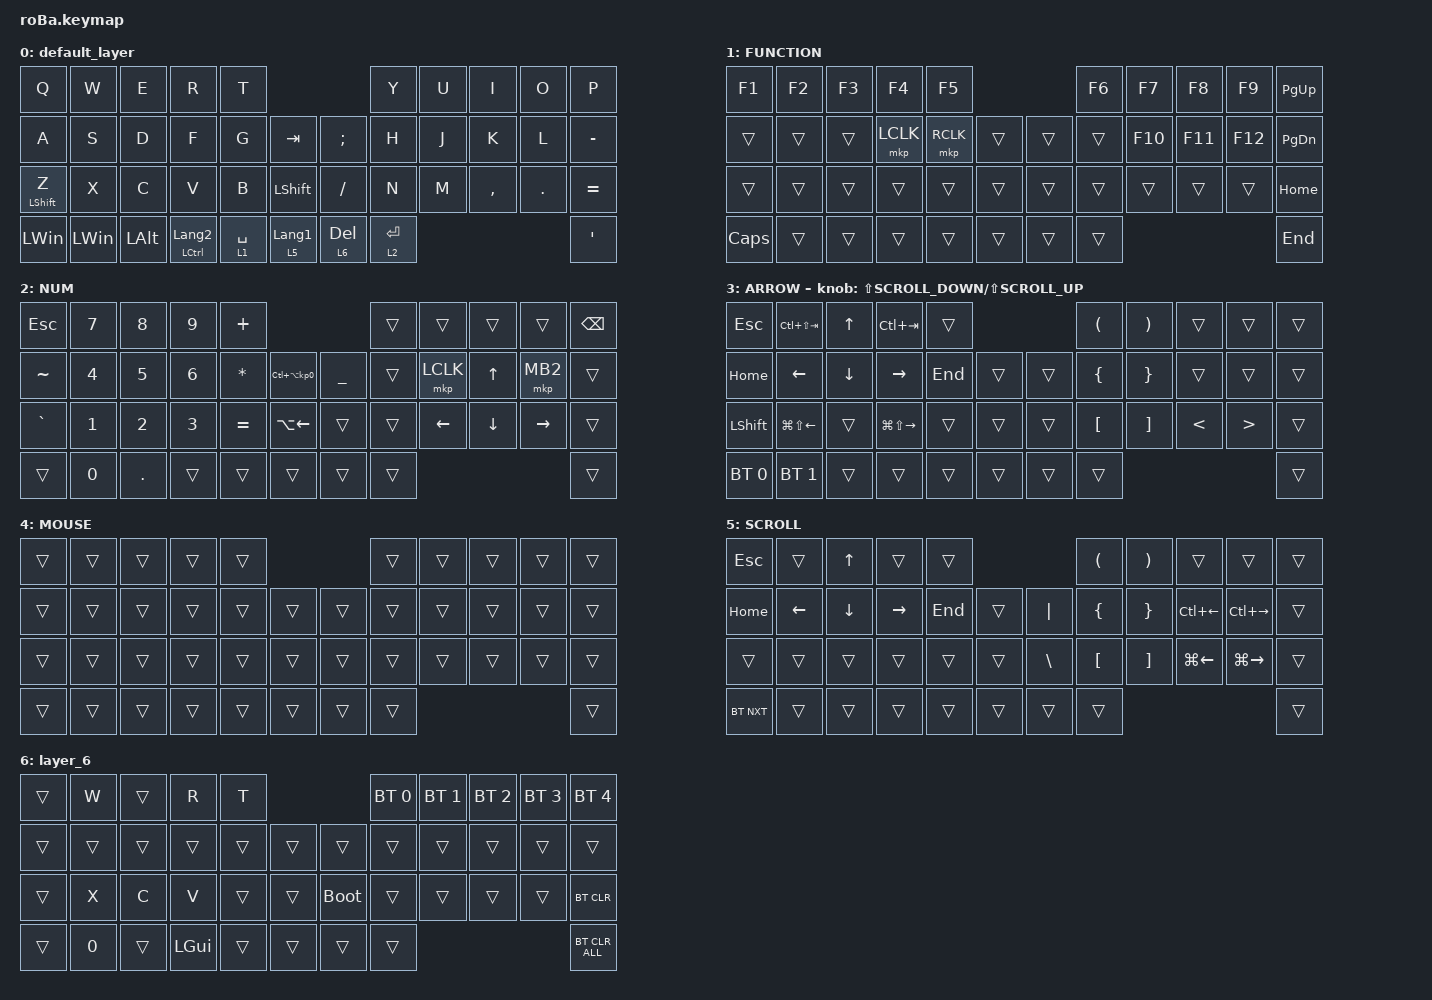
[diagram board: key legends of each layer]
#include <behaviors.dtsi>
#include <dt-bindings/zmk/bt.h>
#include <dt-bindings/zmk/keys.h>
#include <dt-bindings/zmk/pointing.h>

&mt {
    flavor = "balanced";
    quick-tap-ms = <0>;
};

/ {
    combos {
        compatible = "zmk,combos";

        tab {
            bindings = <&kp TAB>;
            key-positions = <11 12>;
        };

        shift_tab {
            bindings = <&kp LS(TAB)>;
            key-positions = <12 13>;
        };

        muhennkann {
            bindings = <&to_layer_0 INT_MUHENKAN>;
            key-positions = <11 10>;
        };

        double_quotation {
            bindings = <&kp DOUBLE_QUOTES>;
            key-positions = <20 21>;
        };

        eq {
            bindings = <&kp EQUAL>;
            key-positions = <24 25>;
        };
    };

    macros {
        to_layer_0: to_layer_0 {
            compatible = "zmk,behavior-macro-one-param";
            #binding-cells = <1>;
            bindings = <&to 0 &macro_param_1to1 &kp MACRO_PLACEHOLDER>;
            label = "TO_LAYER_0";
        };
    };

    behaviors {
        lt_to_layer_0: lt_to_layer_0 {
            compatible = "zmk,behavior-hold-tap";
            label = "LAYER_TAP_TO_0";
            bindings = <&mo>, <&to_layer_0>;

            #binding-cells = <2>;
            tapping-term-ms = <200>;
        };
    };

    keymap {
        compatible = "zmk,keymap";

        default_layer {
            bindings = <
&kp Q             &kp W         &kp E         &kp R                        &kp T                                                                          &kp Y                   &kp U  &kp I      &kp O    &kp P
&kp A             &kp S         &kp D         &kp F                        &kp G                   &kp TAB                          &kp SEMICOLON         &kp H                   &kp J  &kp K      &kp L    &kp MINUS
&mt LEFT_SHIFT Z  &kp X         &kp C         &kp V                        &kp B                   &kp LEFT_SHIFT                   &kp SLASH             &kp N                   &kp M  &kp COMMA  &kp DOT  &kp EQUAL
&kp LEFT_WIN      &kp LEFT_WIN  &kp LEFT_ALT  &mt LEFT_CONTROL LANGUAGE_2  &lt_to_layer_0 1 SPACE  &lt_to_layer_0 5 LANGUAGE_1      &lt_to_layer_0 6 DEL  &lt_to_layer_0 2 ENTER                             &kp SINGLE_QUOTE
            >;
        };

        FUNCTION {
            bindings = <
&kp F1        &kp F2  &kp F3  &kp F4     &kp F5                         &kp F6  &kp F7   &kp F8   &kp F9   &kp PAGE_UP
&trans        &trans  &trans  &mkp LCLK  &mkp RCLK  &trans      &trans  &trans  &kp F10  &kp F11  &kp F12  &kp PAGE_DOWN
&trans        &trans  &trans  &trans     &trans     &trans      &trans  &trans  &trans   &trans   &trans   &kp HOME
&kp CAPSLOCK  &trans  &trans  &trans     &trans     &trans      &trans  &trans                             &kp END
            >;
        };

        NUM {
            bindings = <
&kp ESC    &kp N7        &kp NUMBER_8  &kp NUMBER_9  &kp PLUS                                                   &trans  &trans          &trans        &trans     &kp BACKSPACE
&kp TILDE  &kp NUMBER_4  &kp NUMBER_5  &kp NUMBER_6  &kp ASTERISK  &kp LC(LA(KP_NUMBER_0))      &kp UNDERSCORE  &trans  &mkp LCLK       &kp UP_ARROW  &mkp MB2   &trans
&kp GRAVE  &kp NUMBER_1  &kp NUMBER_2  &kp NUMBER_3  &kp EQUAL     &kp LA(LEFT)                 &trans          &trans  &kp LEFT_ARROW  &kp DOWN      &kp RIGHT  &trans
&trans     &kp N0        &kp PERIOD    &trans        &trans        &trans                       &trans          &trans                                           &trans
            >;
        };

        ARROW {
            bindings = <
&kp ESCAPE      &kp LC(LS(TAB))         &kp UP_ARROW    &kp LC(TAB)              &trans                       &kp LEFT_PARENTHESIS  &kp RIGHT_PARENTHESIS  &trans         &trans            &trans
&kp HOME        &kp LEFT_ARROW          &kp DOWN_ARROW  &kp RIGHT_ARROW          &kp END  &trans      &trans  &kp LEFT_BRACE        &kp RIGHT_BRACE        &trans         &trans            &trans
&kp LEFT_SHIFT  &kp LG(LS(LEFT_ARROW))  &trans          &kp LG(LS(RIGHT_ARROW))  &trans   &trans      &trans  &kp LEFT_BRACKET      &kp RIGHT_BRACKET      &kp LESS_THAN  &kp GREATER_THAN  &trans
&bt BT_SEL 0    &bt BT_SEL 1            &trans          &trans                   &trans   &trans      &trans  &trans                                                                        &trans
            >;

            sensor-bindings = <&inc_dec_kp LS(K_SCROLL_DOWN) LS(K_SCROLL_UP)>;
        };

        MOUSE {
            bindings = <
&trans  &trans  &trans  &trans  &trans                      &trans  &trans  &trans  &trans  &trans
&trans  &trans  &trans  &trans  &trans  &trans      &trans  &trans  &trans  &trans  &trans  &trans
&trans  &trans  &trans  &trans  &trans  &trans      &trans  &trans  &trans  &trans  &trans  &trans
&trans  &trans  &trans  &trans  &trans  &trans      &trans  &trans                          &trans
            >;
        };

        SCROLL {
            bindings = <
&kp ESC     &trans    &kp UP    &trans     &trans                              &kp LEFT_PARENTHESIS  &kp RIGHT_PARENTHESIS  &trans              &trans               &trans
&kp HOME    &kp LEFT  &kp DOWN  &kp RIGHT  &kp END  &trans      &kp PIPE       &kp LEFT_BRACE        &kp RIGHT_BRACE        &kp LC(LEFT_ARROW)  &kp LC(RIGHT_ARROW)  &trans
&trans      &trans    &trans    &trans     &trans   &trans      &kp BACKSLASH  &kp LEFT_BRACKET      &kp RIGHT_BRACKET      &kp LG(LEFT_ARROW)  &kp LG(RIGHT_ARROW)  &trans
&bt BT_NXT  &trans    &trans    &trans     &trans   &trans      &trans         &trans                                                                                &trans
            >;
        };

        layer_6 {
            bindings = <
&trans  &kp W         &trans  &kp R         &kp T                            &bt BT_SEL 0  &bt BT_SEL 1  &bt BT_SEL 2  &bt BT_SEL 3  &bt BT_SEL 4
&trans  &trans        &trans  &trans        &trans  &trans      &trans       &trans        &trans        &trans        &trans        &trans
&trans  &kp X         &kp C   &kp V         &trans  &trans      &bootloader  &trans        &trans        &trans        &trans        &bt BT_CLR
&trans  &kp NUMBER_0  &trans  &kp LEFT_GUI  &trans  &trans      &trans       &trans                                                  &bt BT_CLR_ALL
            >;
        };
    };
};
